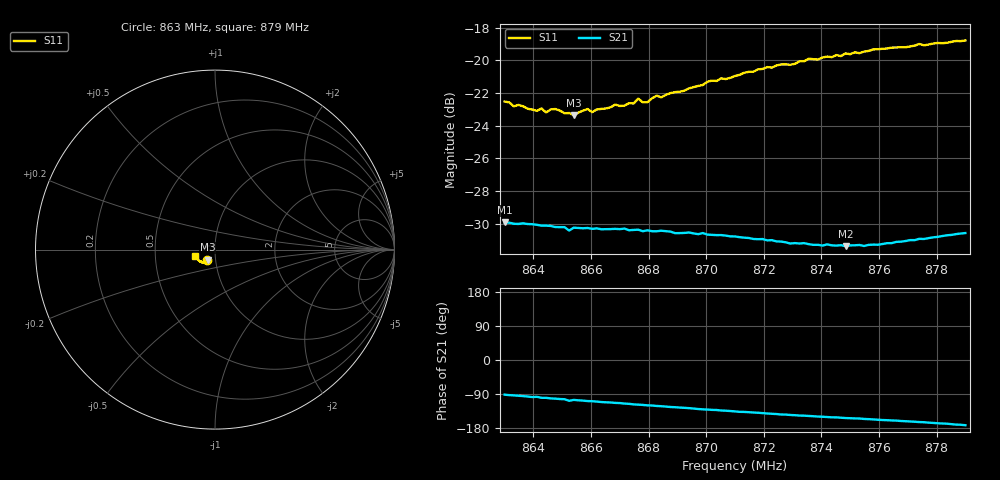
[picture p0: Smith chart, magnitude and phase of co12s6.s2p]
# HZ S RI R 50
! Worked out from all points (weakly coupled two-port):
!   101 points, 863 MHz to 879 MHz, reference 50 ohm
!   highest |S21| = -29.92 dB at 863 MHz (marker M1); lowest = -31.4 dB at 874.84 MHz (marker M2)
!   lowest |S11| = -23.4 dB at 865.4 MHz (marker M3), VSWR 1.15, Z = 45.9 - j5.09 ohm
!   |S11| at or under -10 dB: start of sweep to end of sweep
!   S12 and S22 are empty: the file has one direction only
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8.63e8  -0.0461 -0.0589  -0.000784 -0.0319  0 0  0 0
8.6412e8  -0.0401 -0.0575  -0.00393 -0.0311  0 0  0 0
8.6428e8  -0.0409 -0.0584  -0.00528 -0.0308  0 0  0 0
8.6444e8  -0.0398 -0.0567  -0.0053 -0.0307  0 0  0 0
8.6476e8  -0.0407 -0.0582  -0.00641 -0.0302  0 0  0 0
8.6524e8  -0.0384 -0.0573  -0.00915 -0.0287  0 0  0 0
8.654e8  -0.0396 -0.0552  -0.00812 -0.0297  0 0  0 0
8.6572e8  -0.0371 -0.0596  -0.00905 -0.0293  0 0  0 0
8.6588e8  -0.0378 -0.0601  -0.00967 -0.0291  0 0  0 0
8.6604e8  -0.0356 -0.0596  -0.00982 -0.0289  0 0  0 0
8.6684e8  -0.0372 -0.0631  -0.012 -0.0281  0 0  0 0
8.6748e8  -0.0364 -0.0642  -0.0138 -0.027  0 0  0 0
8.6764e8  -0.0383 -0.066  -0.0141 -0.0268  0 0  0 0
8.6796e8  -0.0367 -0.0648  -0.015 -0.0262  0 0  0 0
8.6828e8  -0.0394 -0.0673  -0.0156 -0.0256  0 0  0 0
8.6844e8  -0.0382 -0.0669  -0.0159 -0.0256  0 0  0 0
8.7004e8  -0.0465 -0.0724  -0.0191 -0.0222  0 0  0 0
8.71e8  -0.051 -0.0736  -0.0207 -0.0202  0 0  0 0
8.7372e8  -0.0707 -0.0719  -0.0232 -0.0143  0 0  0 0
8.7484e8  -0.0802 -0.0678  -0.0241 -0.0122  0 0  0 0
8.7644e8  -0.0926 -0.0583  -0.0258 -0.00965  0 0  0 0
8.79e8  -0.1092 -0.0361  -0.0293 -0.00403  0 0  0 0
